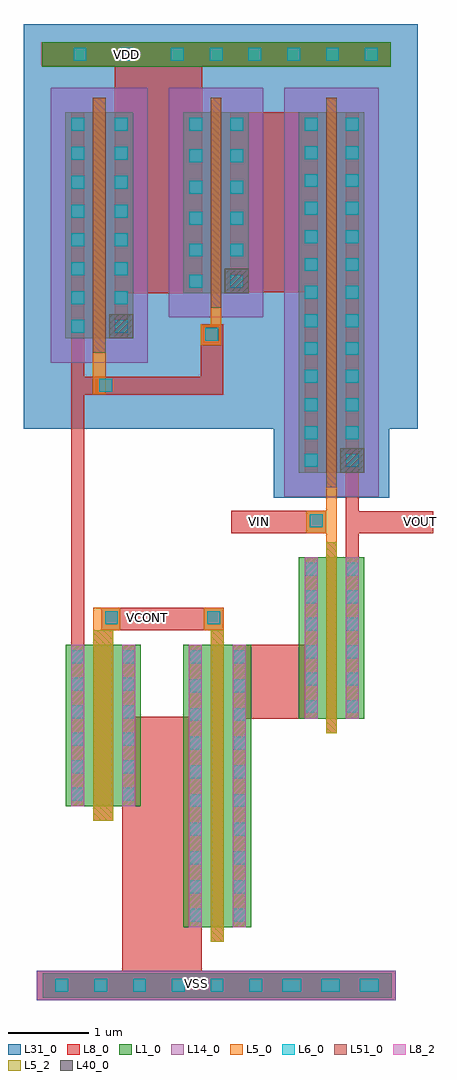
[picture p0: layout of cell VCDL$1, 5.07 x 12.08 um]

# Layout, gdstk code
import gdstk
lib = gdstk.Library(unit=1e-6, precision=1e-09)
def R(c, l, rs):  # rectangles x0, y0, x1, y1
    for r in rs: c.add(gdstk.rectangle(r[:2], r[2:], *l))
def A(c, l, x, y, w, h, nx, ny, dx, dy):  # array of equal rectangles
    R(c, l, [(x+i*dx, y+j*dy, x+i*dx+w, y+j*dy+h) for i in range(nx) for j in range(ny)])
L1_0 = (1, 0)
L5_0 = (5, 0)
L5_2 = (5, 2)
L6_0 = (6, 0)
L8_0 = (8, 0)
L8_2 = (8, 2)
L14_0 = (14, 0)
L31_0 = (31, 0)
L40_0 = (40, 0)
L51_0 = (51, 0)

nmos = lib.new_cell('nmos')
R(nmos, L1_0, [(0,0,0.3,0.3), (0,0,0.81,2), (0.51,0,0.81,0.3)])
R(nmos, L5_0, [(0.34,-0.18,0.47,2.18)])
R(nmos, L5_2, [(0.34,-0.18,0.47,2.18)])
A(nmos, L6_0, 0.07, 0.07, 0.16, 0.16, 1, 6, 0, 0.34)
A(nmos, L6_0, 0.58, 0.07, 0.16, 0.16, 1, 6, 0, 0.34)
R(nmos, L8_0, [(0.07,0,0.23,2), (0.58,0,0.74,2)])
R(nmos, L8_2, [(0.07,0,0.23,2), (0.58,0,0.74,2)])
R(nmos, L51_0, [(0.34,-0.18,0.47,2.18)])
nmos.add(gdstk.Label('nmos', (0.405,1), layer=63, texttype=0))
nmos.add(gdstk.Label('nmos', (0.405,1), layer=51, texttype=0))

pmos_1 = lib.new_cell('pmos$1')
R(pmos_1, L1_0, [(0,0,0.3,0.3), (0,0,0.84,2.8), (0.54,0,0.84,0.3)])
R(pmos_1, L5_0, [(0.34,-0.18,0.5,2.98), (0.34,-0.18,0.5,2.98)])
A(pmos_1, L6_0, 0.07, 0.07, 0.16, 0.16, 1, 3, 0, 0.355)
A(pmos_1, L6_0, 0.61, 0.07, 0.16, 0.16, 1, 3, 0, 0.355)
R(pmos_1, L6_0, [(0.07,1.14,0.23,1.3), (0.61,1.14,0.77,1.3), (0.07,1.495,0.23,1.655), (0.61,1.495,0.77,1.655), (0.07,1.855,0.23,2.015), (0.61,1.855,0.77,2.015), (0.07,2.21,0.23,2.37), (0.61,2.21,0.77,2.37), (0.07,2.57,0.23,2.73), (0.61,2.57,0.77,2.73)])
R(pmos_1, L8_0, [(0.07,0,0.23,2.8), (0.07,0,0.23,2.8), (0.61,0,0.77,2.8), (0.61,0,0.77,2.8)])
R(pmos_1, L14_0, [(-0.18,-0.3,1.02,3.1)])
R(pmos_1, L31_0, [(-0.31,-0.31,1.15,3.11)])
R(pmos_1, L40_0, [(0.54,0,0.84,0.3)])
R(pmos_1, L51_0, [(0.34,-0.18,0.5,2.98)])
pmos_1.add(gdstk.Label('pmos', (0.42,1.4), layer=63, texttype=0))
pmos_1.add(gdstk.Label('pmos', (0.42,1.4), layer=51, texttype=0))

pmos = lib.new_cell('pmos')
R(pmos, L1_0, [(0,0,0.3,0.3), (0,0,0.81,4.46), (0.51,0,0.81,0.3)])
R(pmos, L5_0, [(0.34,-0.18,0.47,4.64), (0.34,-0.18,0.47,4.64)])
A(pmos, L6_0, 0.07, 0.07, 0.16, 0.16, 1, 3, 0, 0.345)
A(pmos, L6_0, 0.58, 0.07, 0.16, 0.16, 1, 3, 0, 0.345)
A(pmos, L6_0, 0.07, 1.11, 0.16, 0.16, 1, 3, 0, 0.345)
A(pmos, L6_0, 0.58, 1.11, 0.16, 0.16, 1, 3, 0, 0.345)
A(pmos, L6_0, 0.07, 2.15, 0.16, 0.16, 1, 3, 0, 0.345)
A(pmos, L6_0, 0.58, 2.15, 0.16, 0.16, 1, 3, 0, 0.345)
A(pmos, L6_0, 0.07, 3.19, 0.16, 0.16, 1, 3, 0, 0.345)
A(pmos, L6_0, 0.58, 3.19, 0.16, 0.16, 1, 3, 0, 0.345)
R(pmos, L6_0, [(0.07,4.23,0.23,4.39), (0.58,4.23,0.74,4.39)])
R(pmos, L8_0, [(0.07,0,0.23,4.46), (0.07,0,0.23,4.46), (0.58,0,0.74,4.46), (0.58,0,0.74,4.46)])
R(pmos, L14_0, [(-0.18,-0.3,0.99,4.76)])
R(pmos, L31_0, [(-0.31,-0.31,1.12,4.77)])
R(pmos, L40_0, [(0.51,0,0.81,0.3)])
R(pmos, L51_0, [(0.34,-0.18,0.47,4.64)])
pmos.add(gdstk.Label('pmos', (0.405,2.23), layer=63, texttype=0))
pmos.add(gdstk.Label('pmos', (0.405,2.23), layer=51, texttype=0))

nmos_2 = lib.new_cell('nmos$2')
R(nmos_2, L1_0, [(0,0,0.3,0.3), (0,0,0.93,2), (0.63,0,0.93,0.3)])
R(nmos_2, L5_0, [(0.34,-0.18,0.59,2.18)])
R(nmos_2, L5_2, [(0.34,-0.18,0.59,2.18)])
A(nmos_2, L6_0, 0.07, 0.07, 0.16, 0.16, 1, 6, 0, 0.34)
A(nmos_2, L6_0, 0.7, 0.07, 0.16, 0.16, 1, 6, 0, 0.34)
R(nmos_2, L8_0, [(0.07,0,0.23,2), (0.7,0,0.86,2)])
R(nmos_2, L8_2, [(0.07,0,0.23,2), (0.7,0,0.86,2)])
R(nmos_2, L51_0, [(0.34,-0.18,0.59,2.18)])
nmos_2.add(gdstk.Label('nmos', (0.465,1), layer=63, texttype=0))
nmos_2.add(gdstk.Label('nmos', (0.465,1), layer=51, texttype=0))

nmos_1 = lib.new_cell('nmos$1')
R(nmos_1, L1_0, [(0,0,0.3,0.3), (0,0,0.84,3.5), (0.54,0,0.84,0.3)])
R(nmos_1, L5_0, [(0.34,-0.18,0.5,3.68)])
R(nmos_1, L5_2, [(0.34,-0.18,0.5,3.68)])
A(nmos_1, L6_0, 0.07, 0.07, 0.16, 0.16, 1, 9, 0, 0.355)
A(nmos_1, L6_0, 0.61, 0.07, 0.16, 0.16, 1, 9, 0, 0.355)
R(nmos_1, L6_0, [(0.07,3.27,0.23,3.43), (0.61,3.27,0.77,3.43)])
R(nmos_1, L8_0, [(0.07,0,0.23,3.5), (0.61,0,0.77,3.5)])
R(nmos_1, L8_2, [(0.07,0,0.23,3.5), (0.61,0,0.77,3.5)])
R(nmos_1, L51_0, [(0.34,-0.18,0.5,3.68)])
nmos_1.add(gdstk.Label('nmos', (0.42,1.75), layer=63, texttype=0))
nmos_1.add(gdstk.Label('nmos', (0.42,1.75), layer=51, texttype=0))

pmos_2 = lib.new_cell('pmos$2')
R(pmos_2, L1_0, [(0,0,0.3,0.3), (0,0,0.81,2.24), (0.51,0,0.81,0.3)])
R(pmos_2, L5_0, [(0.34,-0.18,0.47,2.42), (0.34,-0.18,0.47,2.42)])
A(pmos_2, L6_0, 0.07, 1.23, 0.16, 0.16, 1, 3, 0, 0.39)
A(pmos_2, L6_0, 0.58, 1.23, 0.16, 0.16, 1, 3, 0, 0.39)
R(pmos_2, L6_0, [(0.07,0.07,0.23,0.23), (0.58,0.07,0.74,0.23), (0.07,0.455,0.23,0.615), (0.58,0.455,0.74,0.615), (0.07,0.845,0.23,1.005), (0.58,0.845,0.74,1.005)])
R(pmos_2, L8_0, [(0.07,0,0.23,2.24), (0.07,0,0.23,2.24), (0.58,0,0.74,2.24), (0.58,0,0.74,2.24)])
R(pmos_2, L14_0, [(-0.18,-0.3,0.99,2.54)])
R(pmos_2, L31_0, [(-0.31,-0.31,1.12,2.55)])
R(pmos_2, L40_0, [(0.51,0,0.81,0.3)])
R(pmos_2, L51_0, [(0.34,-0.18,0.47,2.42)])
pmos_2.add(gdstk.Label('pmos', (0.405,1.12), layer=63, texttype=0))
pmos_2.add(gdstk.Label('pmos', (0.405,1.12), layer=51, texttype=0))

vcdl_1 = lib.new_cell('VCDL$1')
R(vcdl_1, L1_0, [(6.916,7.611,8.356,7.911), (6.916,7.611,8.356,7.911), (8.356,7.611,9.796,7.911), (8.356,7.611,9.796,7.911), (9.796,7.611,11.236,7.911), (9.796,7.611,11.236,7.911), (6.91,19.135,11.225,19.435)])
R(vcdl_1, L5_0, [(7.541,12.16,7.88,12.439), (8.909,12.16,9.159,12.439), (10.43,13.244,10.56,13.93), (10.18,13.359,10.43,13.638), (7.54,15.075,7.7,15.591), (8.875,15.685,9.13,15.945), (9,15.945,9.13,16.15)])
R(vcdl_1, L6_0, [(7.076,7.681,7.236,7.841), (7.076,7.681,7.236,7.841), (7.076,7.681,7.236,7.841), (7.076,7.681,7.236,7.841), (7.556,7.681,7.716,7.841), (7.556,7.681,7.716,7.841), (7.556,7.681,7.716,7.841), (7.556,7.681,7.716,7.841), (8.036,7.681,8.196,7.841), (8.036,7.681,8.196,7.841), (8.036,7.681,8.196,7.841), (8.036,7.681,8.196,7.841), (8.516,7.681,8.676,7.841), (8.516,7.681,8.676,7.841), (8.516,7.681,8.676,7.841), (8.516,7.681,8.676,7.841), (8.996,7.681,9.156,7.841), (8.996,7.681,9.156,7.841), (8.996,7.681,9.156,7.841), (8.996,7.681,9.156,7.841), (9.476,7.681,9.636,7.841), (9.476,7.681,9.636,7.841), (9.476,7.681,9.636,7.841), (9.476,7.681,9.636,7.841), (9.883,7.681,10.043,7.841), (9.883,7.681,10.043,7.841), (9.883,7.681,10.043,7.841), (9.883,7.681,10.043,7.841), (9.956,7.681,10.116,7.841), (9.956,7.681,10.116,7.841), (9.956,7.681,10.116,7.841), (9.956,7.681,10.116,7.841), (10.363,7.681,10.523,7.841), (10.363,7.681,10.523,7.841), (10.363,7.681,10.523,7.841), (10.363,7.681,10.523,7.841), (10.436,7.681,10.596,7.841), (10.436,7.681,10.596,7.841), (10.436,7.681,10.596,7.841), (10.436,7.681,10.596,7.841), (10.843,7.681,11.003,7.841), (10.843,7.681,11.003,7.841), (10.843,7.681,11.003,7.841), (10.843,7.681,11.003,7.841), (10.916,7.681,11.076,7.841), (10.916,7.681,11.076,7.841), (10.916,7.681,11.076,7.841), (10.916,7.681,11.076,7.841), (7.69,12.23,7.85,12.39), (8.954,12.232,9.114,12.392), (10.225,13.431,10.385,13.591), (7.621,15.111,7.781,15.271), (8.931,15.741,9.091,15.901), (7.3,19.207,7.46,19.367), (7.878,19.207,8.038,19.367), (7.878,19.207,8.038,19.367), (8.505,19.207,8.665,19.367), (8.985,19.207,9.145,19.367), (8.985,19.207,9.145,19.367), (9.465,19.207,9.625,19.367), (9.465,19.207,9.625,19.367), (9.945,19.207,10.105,19.367), (9.945,19.207,10.105,19.367), (10.425,19.207,10.585,19.367), (10.425,19.207,10.585,19.367), (10.905,19.207,11.065,19.367), (10.905,19.207,11.065,19.367)])
R(vcdl_1, L8_0, [(6.846,7.581,11.291,7.941), (6.846,7.581,11.291,7.941), (7.901,7.941,8.889,11.085), (9.269,11.064,10.32,11.98), (7.271,11.98,7.431,15.77), (7.64,12.16,9.159,12.439), (10.67,13.064,10.83,14.11), (9.253,13.359,10.43,13.638), (10.67,13.36,11.755,13.633), (7.32,15.075,9.155,15.295), (8.875,15.145,9.155,15.945), (7.81,16.33,8.89,19.437), (9.24,16.34,10.32,18.57), (6.904,19.137,11.227,19.437)])
R(vcdl_1, L8_2, [(8.761,7.716,8.891,7.846), (8.145,12.25,8.275,12.38), (11.525,13.44,11.655,13.57), (9.54,13.445,9.67,13.575), (7.89,19.225,8.02,19.355)])
R(vcdl_1, L14_0, [(6.846,7.581,8.426,7.941), (8.286,7.581,11.291,7.941)])
R(vcdl_1, L31_0, [(6.681,14.65,11.561,19.662), (6.681,18.87,11.561,19.662)])
vcdl_1.add(gdstk.Reference(nmos, (10.09,11.064)))
vcdl_1.add(gdstk.Reference(pmos_1, (7.2,15.77)))
vcdl_1.add(gdstk.Reference(pmos, (10.09,14.11)))
vcdl_1.add(gdstk.Reference(nmos_2, (7.201,9.98)))
vcdl_1.add(gdstk.Reference(nmos_1, (8.659,8.48)))
vcdl_1.add(gdstk.Reference(pmos_2, (8.66,16.33)))
vcdl_1.add(gdstk.Label('VSS', (8.826,7.781), layer=8, texttype=25))
vcdl_1.add(gdstk.Label('VSS', (8.826,7.781), layer=8, texttype=25))
vcdl_1.add(gdstk.Label('VDD', (7.955,19.29), layer=8, texttype=25))
vcdl_1.add(gdstk.Label('VIN', (9.605,13.51), layer=8, texttype=25))
vcdl_1.add(gdstk.Label('VOUT', (11.59,13.505), layer=8, texttype=25))
vcdl_1.add(gdstk.Label('VCONT', (8.21,12.315), layer=8, texttype=25))

lib.write_gds('VCDL_1.gds')
